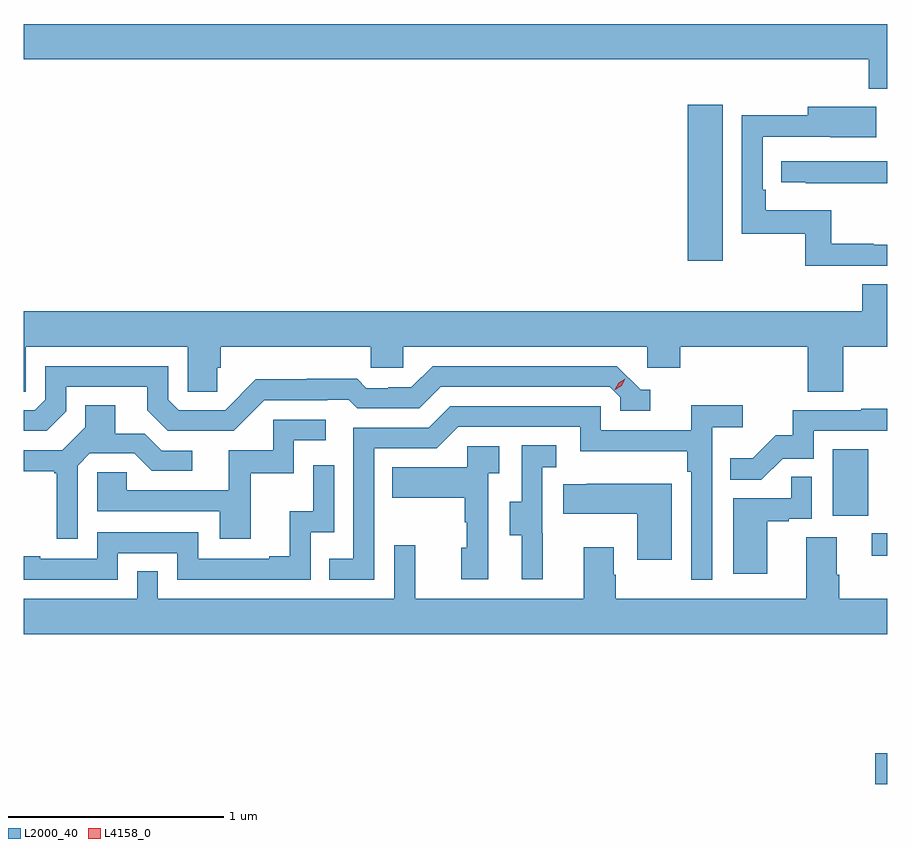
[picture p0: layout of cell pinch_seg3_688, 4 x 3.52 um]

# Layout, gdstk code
import gdstk
lib = gdstk.Library(unit=1e-6, precision=1e-09)
def R(c, l, rs):  # rectangles x0, y0, x1, y1
    for r in rs: c.add(gdstk.rectangle(r[:2], r[2:], *l))
def P(c, l, *ps):  # polygons
    for p in ps: c.add(gdstk.Polygon(p, *l))
L2000_40 = (2000, 40)
L4158_0 = (4158, 0)

pinch_seg3_688 = lib.new_cell('pinch_seg3_688')
R(pinch_seg3_688, L2000_40, [(1108.836,666.922,1108.891,667.064), (1108.821,667.98,1108.891,668.085), (1108.64,668.166,1108.804,668.473), (1107.968,669.348,1108.129,670.069)])
P(pinch_seg3_688, L2000_40, [(1108.891,670.444),(1104.891,670.444),(1104.891,670.28),(1108.805,670.28),(1108.805,670.145),(1108.891,670.145)],
  [(1108.891,669.42),(1108.829,669.42),(1108.829,669.425),(1108.633,669.425),(1108.633,669.58),(1108.328,669.58),(1108.328,669.676),(1108.314,669.676),(1108.314,669.921),(1108.627,669.921),(1108.627,669.92),(1108.841,669.92),(1108.841,670.06),(1108.523,670.06),(1108.523,670.022),(1108.218,670.022),(1108.218,669.471),(1108.512,669.471),(1108.512,669.324),(1108.891,669.324)],
  [(1108.891,669.807),(1108.401,669.807),(1108.401,669.711),(1108.513,669.711),(1108.513,669.706),(1108.891,669.706)],
  [(1104.9,668.948),(1105.65,668.948),(1105.65,668.74),(1105.787,668.74),(1105.787,668.85),(1105.802,668.85),(1105.802,668.948),(1106.499,668.948),(1106.499,668.85),(1106.649,668.85),(1106.649,668.948),(1107.78,668.948),(1107.78,668.85),(1107.932,668.85),(1107.932,668.948),(1108.523,668.948),(1108.523,668.74),(1108.688,668.74),(1108.688,668.948),(1108.891,668.948),(1108.891,669.239),(1108.777,669.239),(1108.777,669.112),(1104.891,669.112),(1104.891,668.74),(1104.9,668.74)],
  [(1105.086,668.649),(1105.086,668.763),(1105.463,668.763),(1105.463,668.653),(1105.557,668.559),(1105.863,668.559),(1106.004,668.7),(1106.297,668.7),(1106.297,668.703),(1106.396,668.703),(1106.435,668.664),(1106.724,668.664),(1106.823,668.763),(1107.606,668.763),(1107.654,668.715),(1107.654,668.652),(1107.793,668.652),(1107.793,668.748),(1107.75,668.748),(1107.639,668.859),(1106.786,668.859),(1106.687,668.76),(1106.58,668.76),(1106.58,668.757),(1106.477,668.757),(1106.435,668.8),(1106.202,668.8),(1106.202,668.797),(1105.966,668.797),(1105.824,668.655),(1105.608,668.655),(1105.56,668.703),(1105.56,668.859),(1104.99,668.859),(1104.99,668.703),(1104.942,668.655),(1104.891,668.655),(1104.891,668.559),(1104.996,668.559)],
  [(1106.514,668.478),(1106.805,668.478),(1106.904,668.577),(1107.468,668.577),(1107.468,668.465),(1107.964,668.465),(1107.964,668.369),(1107.984,668.369),(1107.984,667.869),(1108.08,667.869),(1108.08,668.576),(1108.222,668.576),(1108.222,668.678),(1107.983,668.678),(1107.983,668.562),(1107.564,668.562),(1107.564,668.673),(1106.867,668.673),(1106.768,668.574),(1106.418,668.574),(1106.418,667.965),(1106.305,667.965),(1106.305,667.869),(1106.514,667.869)],
  [(1105.14,668.397),(1105.197,668.454),(1105.403,668.454),(1105.484,668.373),(1105.672,668.373),(1105.672,668.466),(1105.53,668.466),(1105.45,668.546),(1105.315,668.546),(1105.315,668.678),(1105.175,668.678),(1105.175,668.576),(1105.068,668.469),(1104.891,668.469),(1104.891,668.372),(1105.032,668.372),(1105.032,668.361),(1105.043,668.361),(1105.043,668.058),(1105.14,668.058)],
  [(1108.407,668.43),(1108.551,668.43),(1108.551,668.559),(1108.891,668.559),(1108.891,668.66),(1108.771,668.66),(1108.771,668.655),(1108.453,668.655),(1108.453,668.538),(1108.376,668.538),(1108.269,668.431),(1108.165,668.431),(1108.165,668.332),(1108.309,668.332)],
  [(1105.943,668.361),(1106.142,668.361),(1106.142,668.514),(1106.29,668.514),(1106.29,668.61),(1106.046,668.61),(1106.046,668.469),(1105.841,668.469),(1105.841,668.283),(1105.367,668.283),(1105.367,668.367),(1105.23,668.367),(1105.23,668.187),(1105.799,668.187),(1105.799,668.058),(1105.943,668.058)],
  [(1107.296,668.085),(1107.294,668.085),(1107.294,668.389),(1107.358,668.389),(1107.358,668.492),(1107.198,668.492),(1107.198,668.229),(1107.143,668.229),(1107.143,668.074),(1107.197,668.074),(1107.197,667.872),(1107.296,667.872)],
  [(1107.042,668.363),(1107.094,668.363),(1107.094,668.487),(1106.946,668.487),(1106.946,668.389),(1106.599,668.389),(1106.599,668.249),(1106.934,668.249),(1106.934,668.135),(1106.944,668.135),(1106.944,668.016),(1106.918,668.016),(1106.918,667.872),(1107.042,667.872)],
  [(1105.326,667.992),(1105.602,667.992),(1105.602,667.869),(1106.22,667.869),(1106.22,668.088),(1106.328,668.088),(1106.328,668.398),(1106.232,668.398),(1106.232,668.186),(1106.123,668.186),(1106.123,667.978),(1106.027,667.978),(1106.027,667.965),(1105.698,667.965),(1105.698,668.088),(1105.23,668.088),(1105.23,667.965),(1104.967,667.965),(1104.967,667.978),(1104.891,667.978),(1104.891,667.869),(1105.326,667.869)],
  [(1108.336,668.139),(1108.436,668.139),(1108.436,668.151),(1108.542,668.151),(1108.542,668.345),(1108.447,668.345),(1108.447,668.247),(1108.178,668.247),(1108.178,667.896),(1108.336,667.896)],
  [(1107.892,668.314),(1107.499,668.314),(1107.499,668.311),(1107.391,668.311),(1107.391,668.174),(1107.734,668.174),(1107.734,667.962),(1107.892,667.962)],
  [(1108.891,667.78),(1108.67,667.78),(1108.67,667.892),(1108.657,667.892),(1108.657,668.066),(1108.517,668.066),(1108.517,667.78),(1107.633,667.78),(1107.633,667.892),(1107.625,667.892),(1107.625,668.02),(1107.485,668.02),(1107.485,667.78),(1106.705,667.78),(1106.705,668.029),(1106.607,668.029),(1106.607,667.78),(1105.512,667.78),(1105.512,667.907),(1105.416,667.907),(1105.416,667.78),(1104.891,667.78),(1104.891,667.616),(1108.891,667.616)])
P(pinch_seg3_688, L4158_0, [(1107.63,668.749),(1107.63,668.749),(1107.647,668.781),(1107.678,668.8),(1107.678,668.8),(1107.678,668.8),(1107.662,668.768),(1107.631,668.749)])

lib.write_gds('pinch_seg3_688.gds')
